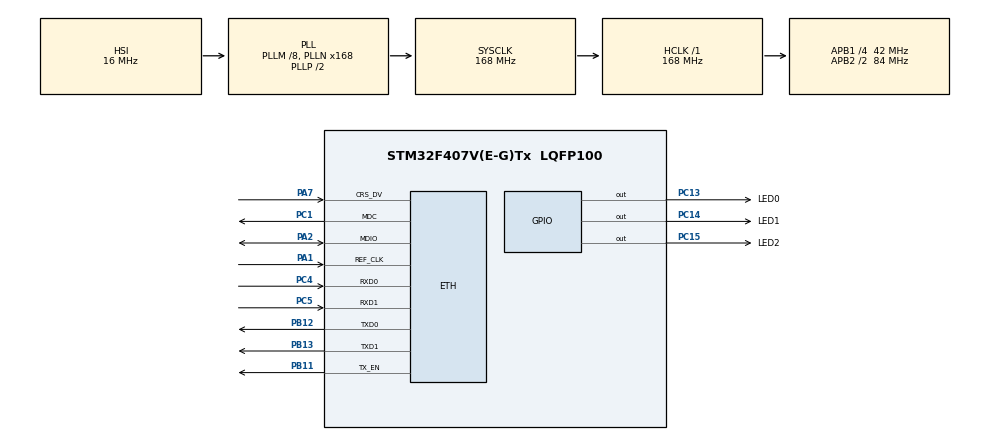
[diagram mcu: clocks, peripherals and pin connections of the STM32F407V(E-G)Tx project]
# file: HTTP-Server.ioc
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Mcu.Family=STM32F4
RCC.CortexFreq_Value=168000000
PA7.Mode=RMII
LWIP.LWIP_HTTPD_DYNAMIC_HEADERS=1
PC13-ANTI_TAMP.GPIO_Label=LED0
LWIP.LWIP_HTTPD_SSI=1
PC4.Signal=ETH_RXD0
LWIP.LWIP_DHCP=0
PC5.Mode=RMII
LWIP.LWIP_HTTPD_DYNAMIC_FILE_READ=1
RCC.APB1CLKDivider=RCC_HCLK_DIV4
PC14-OSC32_IN.Signal=GPIO_Output
PB11.Signal=ETH_TX_EN
PB13.Signal=ETH_TXD1
PC15-OSC32_OUT.GPIO_Label=LED2
RCC.SYSCLKSource=RCC_SYSCLKSOURCE_PLLCLK
ProjectManager.StackSize=0x400
VP_LWIP_VS_Enabled.Mode=Enabled
LWIP.GATEWAY_ADDRESS=192.168.100.100
LWIP.NETMASK_ADDRESS=255.255.255.000
LWIP.LWIP_HTTPD=1
ETH.PHY_Name_RMII=DP83848_PHY_ADDRESS
PB11.Mode=RMII
ProjectManager.TargetToolchain=MDK-ARM V5.27
RCC.HCLKFreq_Value=168000000
RCC.APB2TimFreq_Value=168000000
RCC.LSE_VALUE=32768
PC15-OSC32_OUT.Signal=GPIO_Output
PA1.Signal=ETH_REF_CLK
RCC.AHBFreq_Value=168000000
RCC.HSE_VALUE=25000000
board=custom
PC13-ANTI_TAMP.Signal=GPIO_Output
RCC.VCOOutputFreq_Value=336000000
RCC.APB2Freq_Value=84000000
PA1.Mode=RMII
LWIP.LWIP_HTTPD_CGI=1
Mcu.Name=STM32F407V(E-G)Tx
PA2.Signal=ETH_MDIO
RCC.48MHZClocksFreq_Value=84000000
RCC.SYSCLKFreq_VALUE=168000000
Mcu.Package=LQFP100
ETH.MediaInterface=ETH_MEDIA_INTERFACE_RMII
PB12.Mode=RMII
ProjectManager.HeapSize=0x200
LWIP.LWIP_HTTPD_CUSTOM_FILES=1
LWIP.Version=v2.1.2_Cube
RCC.HSI_VALUE=16000000
NVIC.PriorityGroup=NVIC_PRIORITYGROUP_4
RCC.APB2CLKDivider=RCC_HCLK_DIV2
RCC.PLLM=8
RCC.PLLN=168
RCC.APB1TimFreq_Value=84000000
PA2.Mode=RMII
PC14-OSC32_IN.GPIO_Label=LED1
PC5.Signal=ETH_RXD1
PB13.Mode=RMII
RCC.APB1Freq_Value=42000000
PC1.Signal=ETH_MDC
PB12.Signal=ETH_TXD0
PC4.Mode=RMII
LWIP.IP_ADDRESS=192.168.100.200
PC1.Mode=RMII
PA7.Signal=ETH_CRS_DV

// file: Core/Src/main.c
/* USER CODE BEGIN Header */
/**
  ******************************************************************************
  * @file           : main.c
  * @brief          : Main program body
  ******************************************************************************
  * @attention
  *
  * <h2><center>&copy; Copyright (c) 2022 STMicroelectronics.
  * All rights reserved.</center></h2>
  *
  * This software component is licensed by ST under Ultimate Liberty license
  * SLA0044, the "License"; You may not use this file except in compliance with
  * the License. You may obtain a copy of the License at:
  *                             www.st.com/SLA0044
  *
  ******************************************************************************
  */
/* USER CODE END Header */
#include "main.h"
#include "lwip.h"

/* USER CODE BEGIN Includes */
#include <string.h>
#include "lwip/apps/httpd.h"
#include "lwip/apps/fs.h"
/* USER CODE END Includes */

/* USER CODE BEGIN PTD */
typedef enum {
  Tag_Timestamp,
  Tag_Led0,
  Tag_Led1,
  Tag_Led2,
} Tag_Index;
/* USER CODE END PTD */

/* USER CODE BEGIN PV */

static const char* SSI_TAGS[] = {
  "ts",
  "led0",
  "led1",
  "led2",
};
static const uint32_t SSI_TAGS_LEN = sizeof(SSI_TAGS) / sizeof(SSI_TAGS[0]);

static char timestampBuffer[32] = "";

/* USER CODE END PV */

void SystemClock_Config(void);
static void MX_GPIO_Init(void);

/* USER CODE BEGIN 0 */
u16_t WebServer_onSSI(
#if LWIP_HTTPD_SSI_RAW
                             const char* ssi_tag_name,
#else /* LWIP_HTTPD_SSI_RAW */
                             int iIndex,
#endif /* LWIP_HTTPD_SSI_RAW */
                             char *pcInsert, int iInsertLen
#if LWIP_HTTPD_SSI_MULTIPART
                             , u16_t current_tag_part, u16_t *next_tag_part
#endif /* LWIP_HTTPD_SSI_MULTIPART */
#if defined(LWIP_HTTPD_FILE_STATE) && LWIP_HTTPD_FILE_STATE
                             , void *connection_state
#endif /* LWIP_HTTPD_FILE_STATE */
                             )
{
  switch ((Tag_Index) iIndex) {
    case Tag_Timestamp:
      return snprintf(pcInsert, iInsertLen, "%u", HAL_GetTick());
    case Tag_Led0:
      return snprintf(pcInsert, iInsertLen, "%s", (LED0_GPIO_Port->ODR & LED0_Pin) ? "On" : "Off");
    case Tag_Led1:
      return snprintf(pcInsert, iInsertLen, "%s", (LED1_GPIO_Port->ODR & LED1_Pin) ? "On" : "Off");
    case Tag_Led2:
      return snprintf(pcInsert, iInsertLen, "%s", (LED2_GPIO_Port->ODR & LED2_Pin) ? "On" : "Off");
    default:
      return 0;
  }
}

const char* WebServer_onLed(int iIndex, int iNumParams, char *pcParam[], char *pcValue[]) {
  if (iNumParams != 2) {
    return "/notfound";
  }
  else {
    uint8_t led;
    uint8_t state;
    while (iNumParams-- > 0) {
      if (strcmp(*pcParam, "led") == 0) {
        led = atoi(*pcValue);
      }
      else if (strcmp(*pcParam, "state") == 0) {
        state = atoi(*pcValue);
      }
      pcParam++;
      pcValue++;
    }

    if (led <= 2 && state <= 1) {
      switch (led) {
        case 0:
          HAL_GPIO_WritePin(LED0_GPIO_Port, LED0_Pin, (GPIO_PinState) state);
          break;
        case 1:
          HAL_GPIO_WritePin(LED1_GPIO_Port, LED1_Pin, (GPIO_PinState) state);
          break;
        case 2:
          HAL_GPIO_WritePin(LED2_GPIO_Port, LED2_Pin, (GPIO_PinState) state);
          break;
      }
      return "/index.html";
    }
    else {
      return "/notfound";
    }
  }
}

static const tCGI CGI_TAGS[] = {
  {"/led", WebServer_onLed},
};
static const uint32_t CGI_TAGS_LEN = sizeof(CGI_TAGS) / sizeof(CGI_TAGS[0]);

int fs_open_custom(struct fs_file *file, const char *name) {
  if (strcmp(name, "/timestamp.html") == 0) {
    file->len = snprintf(timestampBuffer, sizeof(timestampBuffer), "%u", HAL_GetTick());
    file->index = 0;
    file->flags = 0;
    file->data = timestampBuffer;
    return 1;
  }
  else {
    return 0;
  }
}
void fs_close_custom(struct fs_file *file) {
  file->data = NULL;
  file->len = 0;
}
int fs_read_custom(struct fs_file *file, char *buffer, int count) {
  int remainingBytes = file->len - file->index;
  if (remainingBytes > 0) {
    if (remainingBytes > count) {
      remainingBytes = count;
    }
    memcpy(buffer, &file->data[file->index], remainingBytes);
    file->index += remainingBytes;
    return remainingBytes;
  }
  else {
    return FS_READ_EOF;
  }
}
/* USER CODE END 0 */

int main(void)
{

  /* MCU Configuration--------------------------------------------------------*/

  /* Reset of all peripherals, Initializes the Flash interface and the Systick. */
  HAL_Init();

  /* Configure the system clock */
  SystemClock_Config();

  /* Initialize all configured peripherals */
  MX_GPIO_Init();
  MX_LWIP_Init();
  /* USER CODE BEGIN 2 */
  httpd_init();
  http_set_ssi_handler(WebServer_onSSI, SSI_TAGS, SSI_TAGS_LEN);
  http_set_cgi_handlers(CGI_TAGS, CGI_TAGS_LEN);
  /* USER CODE END 2 */

  /* Infinite loop */
  /* USER CODE BEGIN WHILE */
  while (1)
  {
    MX_LWIP_Process();
    /* USER CODE END WHILE */

  }
}

void SystemClock_Config(void)
{
  RCC_OscInitTypeDef RCC_OscInitStruct = {0};
  RCC_ClkInitTypeDef RCC_ClkInitStruct = {0};

  /** Configure the main internal regulator output voltage
  */
  __HAL_RCC_PWR_CLK_ENABLE();
  __HAL_PWR_VOLTAGESCALING_CONFIG(PWR_REGULATOR_VOLTAGE_SCALE1);
  /** Initializes the RCC Oscillators according to the specified parameters
  * in the RCC_OscInitTypeDef structure.
  */
  RCC_OscInitStruct.OscillatorType = RCC_OSCILLATORTYPE_HSI;
  RCC_OscInitStruct.HSIState = RCC_HSI_ON;
  RCC_OscInitStruct.HSICalibrationValue = RCC_HSICALIBRATION_DEFAULT;
  RCC_OscInitStruct.PLL.PLLState = RCC_PLL_ON;
  RCC_OscInitStruct.PLL.PLLSource = RCC_PLLSOURCE_HSI;
  RCC_OscInitStruct.PLL.PLLM = 8;
  RCC_OscInitStruct.PLL.PLLN = 168;
  RCC_OscInitStruct.PLL.PLLP = RCC_PLLP_DIV2;
  RCC_OscInitStruct.PLL.PLLQ = 4;
  if (HAL_RCC_OscConfig(&RCC_OscInitStruct) != HAL_OK)
  {
    Error_Handler();
  }
  /** Initializes the CPU, AHB and APB buses clocks
  */
  RCC_ClkInitStruct.ClockType = RCC_CLOCKTYPE_HCLK|RCC_CLOCKTYPE_SYSCLK
                              |RCC_CLOCKTYPE_PCLK1|RCC_CLOCKTYPE_PCLK2;
  RCC_ClkInitStruct.SYSCLKSource = RCC_SYSCLKSOURCE_PLLCLK;
  RCC_ClkInitStruct.AHBCLKDivider = RCC_SYSCLK_DIV1;
  RCC_ClkInitStruct.APB1CLKDivider = RCC_HCLK_DIV4;
  RCC_ClkInitStruct.APB2CLKDivider = RCC_HCLK_DIV2;

  if (HAL_RCC_ClockConfig(&RCC_ClkInitStruct, FLASH_LATENCY_5) != HAL_OK)
  {
    Error_Handler();
  }
}

static void MX_GPIO_Init(void)
{
  GPIO_InitTypeDef GPIO_InitStruct = {0};

  /* GPIO Ports Clock Enable */
  __HAL_RCC_GPIOC_CLK_ENABLE();
  __HAL_RCC_GPIOA_CLK_ENABLE();
  __HAL_RCC_GPIOB_CLK_ENABLE();

  /*Configure GPIO pin Output Level */
  HAL_GPIO_WritePin(GPIOC, LED0_Pin|LED1_Pin|LED2_Pin, GPIO_PIN_RESET);

  /*Configure GPIO pins : LED0_Pin LED1_Pin LED2_Pin */
  GPIO_InitStruct.Pin = LED0_Pin|LED1_Pin|LED2_Pin;
  GPIO_InitStruct.Mode = GPIO_MODE_OUTPUT_PP;
  GPIO_InitStruct.Pull = GPIO_NOPULL;
  GPIO_InitStruct.Speed = GPIO_SPEED_FREQ_LOW;
  HAL_GPIO_Init(GPIOC, &GPIO_InitStruct);

}

void Error_Handler(void)
{
  __disable_irq();
  while (1)
  {
  }
}

/************************ (C) COPYRIGHT STMicroelectronics *****END OF FILE****/
